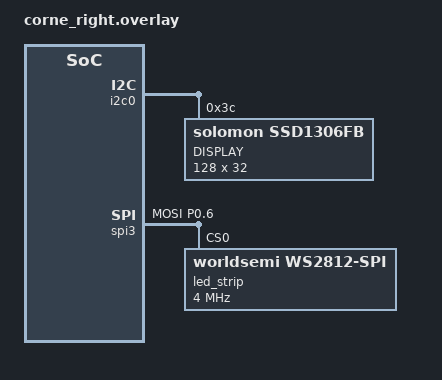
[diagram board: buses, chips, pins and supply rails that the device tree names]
/*
 * Copyright (c) 2020 Pete Johanson
 *
 * SPDX-License-Identifier: MIT
 */

#include "corne.dtsi"

&default_transform {
    col-offset = <6>;
};

&five_column_transform {
    col-offset = <6>;
};

&kscan0 {
    compatible = "zmk,kscan-gpio-matrix";

    col-gpios
        = <&pro_micro 14 GPIO_ACTIVE_HIGH>
        , <&pro_micro 15 GPIO_ACTIVE_HIGH>
        , <&pro_micro 18 GPIO_ACTIVE_HIGH>
        , <&pro_micro 19 GPIO_ACTIVE_HIGH>
        , <&pro_micro 20 GPIO_ACTIVE_HIGH>
        , <&pro_micro 21 GPIO_ACTIVE_HIGH>
        ;

    row-gpios
        = <&pro_micro 4 (GPIO_ACTIVE_HIGH | GPIO_PULL_DOWN)>
        , <&pro_micro 5 (GPIO_ACTIVE_HIGH | GPIO_PULL_DOWN)>
        , <&pro_micro 6 (GPIO_ACTIVE_HIGH | GPIO_PULL_DOWN)>
        , <&pro_micro 7 (GPIO_ACTIVE_HIGH | GPIO_PULL_DOWN)>
        ;
};

&i2c0 {
	status = "okay";

	oled: ssd1306@3c {
		compatible = "solomon,ssd1306fb";
		reg = <0x3c>;
		label = "DISPLAY";
		width = <128>;
		height = <32>;
		segment-offset = <0>;
		page-offset = <0>;
		display-offset = <0>;
		multiplex-ratio = <31>;
		prechargep = <0x22>;
		inversion-on;
		com-invdir;
		com-sequential;
		segment-remap;

        /* Reduza este valor para diminuir o brilho (Escala de 0 a 255) */
        /* Exemplo: 32 ou 64 deixam a tela bem mais fraca e economizam energia */
        contrast-val = <32>;
	};
};

/ {
    chosen {
        zephyr,display = &oled;
        zmk,underglow = &led_strip;
    };
};

#include <dt-bindings/led/led.h>

&pinctrl {
    spi3_default: spi3_default {
        group1 {
            psels = <NRF_PSEL(SPIM_MOSI, 0, 6)>;
        };
    };
    spi3_sleep: spi3_sleep {
        group1 {
            psels = <NRF_PSEL(SPIM_MOSI, 0, 6)>;
            low-power-enable;
        };
    };
};

&spi3 {
    compatible = "nordic,nrf-spim";
    status = "okay";

    pinctrl-0 = <&spi3_default>;
    pinctrl-1 = <&spi3_sleep>;
    pinctrl-names = "default", "sleep";

    led_strip: ws2812@0 {
        compatible = "worldsemi,ws2812-spi";

        /* SPI */
        reg = <0>; /* ignored, but necessary for SPI bindings */
        spi-max-frequency = <4000000>;

        /* WS2812 */
        chain-length = <27>; /* 6 underglow + 21 per-key = 27 */
        spi-one-frame = <0x70>;
        spi-zero-frame = <0x40>;

        color-mapping = <LED_COLOR_ID_GREEN LED_COLOR_ID_RED LED_COLOR_ID_BLUE>;
    };
};
